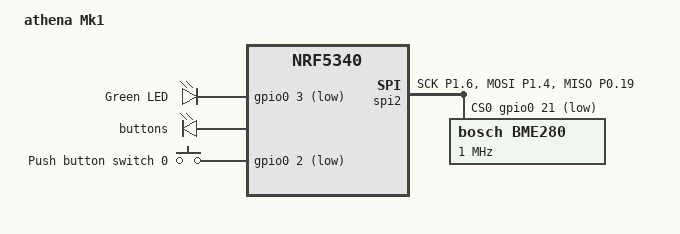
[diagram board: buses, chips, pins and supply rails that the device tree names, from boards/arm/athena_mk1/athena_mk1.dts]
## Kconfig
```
# Copyright (c) 2020, Nordic Semiconductor ASA
# SPDX-License-Identifier: Apache-2.0

config LOG
	default n

config SENSOR_LOG_LEVEL
	default 4

# Enable SPI and I2C support by default so that the sample works with
# the device connected either way. These defaults can be overridden if
# needed.
config SPI
	default y

config I2C
	default n

	

source "Kconfig.zephyr"
```

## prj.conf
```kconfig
CONFIG_SPI=y
CONFIG_SENSOR=y
#Enable the BME280 sensor with the recommended settings for Weather monitoring (see datasheet)
CONFIG_BME280=y
CONFIG_BME280_MODE_FORCED=y
CONFIG_BME280_HUMIDITY_OVER_1X=y
CONFIG_BME280_TEMP_OVER_1X=y
CONFIG_BME280_PRESS_OVER_1X=y
CONFIG_BME280_FILTER_OFF=y
#
CONFIG_ADC=y
#
CONFIG_PRINTK=n

#RTT config
CONFIG_UART_CONSOLE=n
#NOTE: set the following two to y to enable RTT console (printk messages)
CONFIG_RTT_CONSOLE=n
CONFIG_USE_SEGGER_RTT=n

#Logging config, not just printk
CONFIG_LOG=n
CONFIG_LOG_BACKEND_RTT=n

# Log settings
#CONFIG_LOG_PRINTK=y
CONFIG_LOG_MODE_DEFERRED=y
CONFIG_LOG_MODE_OVERFLOW=y


CONFIG_BT=y
CONFIG_BT_PERIPHERAL=y
CONFIG_BT_DEVICE_NAME="BME280"
#CONFIG_BT_DEVICE_APPEARANCE=512
#CONFIG_BT_DEVICE_NAME_DYNAMIC=y

CONFIG_BT_EXT_ADV=y
CONFIG_BT_EXT_ADV_MAX_ADV_SET=2
CONFIG_BT_DEVICE_NAME_DYNAMIC=y

CONFIG_BT_DIS=y
CONFIG_BT_DIS_PNP=y
CONFIG_BT_DIS_MANUF="Nordic Semiconductor ASA"
CONFIG_BT_DIS_PNP_VID_SRC=2
CONFIG_BT_DIS_PNP_VID=0x1915
CONFIG_BT_DIS_PNP_PID=0xEEF1
CONFIG_BT_DIS_PNP_VER=0x0100

#Low Power Settings
CONFIG_PM=y
CONFIG_PM_DEVICE=y
CONFIG_PM_DEVICE_RUNTIME=y
#Logging and Serial must be disabled for low power
#CONFIG_LOG=n
CONFIG_SERIAL=n
CONFIG_CONSOLE=n

# Enable MCUmgr and dependencies.
CONFIG_NET_BUF=y
CONFIG_ZCBOR=y
CONFIG_CRC=y
CONFIG_MCUMGR=y
CONFIG_STREAM_FLASH=y
CONFIG_FLASH_MAP=y

# Enable most core commands.
CONFIG_FLASH=y
CONFIG_IMG_MANAGER=y
CONFIG_MCUMGR_GRP_IMG=y
CONFIG_MCUMGR_GRP_OS=y
#CONFIG_MCUMGR_GRP_STAT=y

# Ensure an MCUboot-compatible binary is generated.
CONFIG_BOOTLOADER_MCUBOOT=y


# Allow for large Bluetooth data packets.
CONFIG_BT_L2CAP_TX_MTU=498
CONFIG_BT_BUF_ACL_RX_SIZE=502
#YS: check if this is needed
#it seems these should be set in the Network core hci_rpmsg.conf file
#CONFIG_BT_BUF_ACL_TX_SIZE=502
#CONFIG_BT_CTLR_DATA_LENGTH_MAX=251

# Enable the Bluetooth mcumgr transport (unauthenticated).
CONFIG_MCUMGR_TRANSPORT_BT=y
CONFIG_MCUMGR_TRANSPORT_BT_AUTHEN=n
CONFIG_MCUMGR_TRANSPORT_BT_CONN_PARAM_CONTROL=y

# Some command handlers require a large stack.
CONFIG_SYSTEM_WORKQUEUE_STACK_SIZE=4096


# Enable the mcumgr Packet Reassembly feature over Bluetooth and its configuration dependencies.
# MCUmgr buffer size is optimized to fit one SMP packet divided into five Bluetooth Write Commands,
# transmitted with the maximum possible MTU value: 498 bytes.
CONFIG_MCUMGR_TRANSPORT_BT_REASSEMBLY=y
CONFIG_MCUMGR_TRANSPORT_NETBUF_SIZE=2475
CONFIG_MCUMGR_GRP_OS_MCUMGR_PARAMS=y
CONFIG_MCUMGR_TRANSPORT_WORKQUEUE_STACK_SIZE=4608


#CONFIG_BOARD_ENABLE_DCDC_HV=n
#Disabling QSPI should save some power?!?
CONFIG_NORDIC_QSPI_NOR=n

CONFIG_NFCT_PINS_AS_GPIOS=y

CONFIG_BOARD_ENABLE_DCDC_NET=y
CONFIG_BOARD_ENABLE_DCDC_APP=y

CONFIG_NVS=y
CONFIG_MPU_ALLOW_FLASH_WRITE=y
CONFIG_FLASH_PAGE_LAYOUT=y
```

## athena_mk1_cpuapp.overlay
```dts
// To get started, press Ctrl+Space to bring up the completion menu and view the available nodes.

// You can also use the buttons in the sidebar to perform actions on nodes.
// Actions currently available include:

// * Enabling / disabling the node
// * Adding the bus to a bus
// * Removing the node
// * Connecting ADC channels

// For more help, browse the DeviceTree documentation at https://docs.zephyrproject.org/latest/guides/dts/index.html
// You can also visit the nRF DeviceTree extension documentation at https://nrfconnect.github.io/vscode-nrf-connect/devicetree/nrfdevicetree.html
// &i2c1 {
//     compatible = "nordic,nrf-twim";
//     status = "ok";
//    // sda-pin = <12>;
//   //  scl-pin = <11>;
    
//     bme280@77 {
//         compatible = "bosch,bme280";
//         reg = <0x76>;
//         label = "BME280";
//     };
// };
/ {

    zephyr,user {
     //  compatible = "nordic,nrf5340-dk-nrf5340-cpuapp";
       io-channels = <&adc 0>;
    };
 };
 
&spi2 {
	status = "okay";
	cs-gpios = <&gpio0 21 GPIO_ACTIVE_LOW>;
	pinctrl-0 = <&spi2_default>;
	pinctrl-1 = <&spi2_sleep>;
	pinctrl-names = "default", "sleep";
	bme280@0 {
		compatible = "bosch,bme280";
		reg = <0>;
		spi-max-frequency = <1000000>; /* conservatively set to 1MHz */
	};
};
&pinctrl {
	spi2_default: spi2_default {
			group1 {
					psels = <NRF_PSEL(SPIM_SCK, 1, 6)>,
							<NRF_PSEL(SPIM_MOSI, 1, 4)>,
							<NRF_PSEL(SPIM_MISO, 0, 19)>;
			};
	};
	spi2_sleep: spi2_sleep {
			group1 {
					psels = <NRF_PSEL(SPIM_SCK, 1, 6)>,
							<NRF_PSEL(SPIM_MOSI, 1, 4)>,
							<NRF_PSEL(SPIM_MISO, 0, 19)>;
					low-power-enable;
			};
	};
};

&gpio0 {
	status = "okay";
	sense-edge-mask = < 0xffffffff >;
};

&gpio1 {
	status = "disabled";
};

//Use the pins assigned to UART1 as we will use the ones assigned to UART0 for SPI
&uart0 {
	status = "disabled";
	current-speed = <115200>;
	pinctrl-0 = <&uart1_default>;
	pinctrl-1 = <&uart1_sleep>;
	pinctrl-names = "default", "sleep";
};

&uart1 {
	status = "disabled";
	current-speed = <115200>;
	pinctrl-0 = <&uart1_default>;
	pinctrl-1 = <&uart1_sleep>;
	pinctrl-names = "default", "sleep";
};


zephyr_udc0: &usbd {
	compatible = "nordic,nrf-usbd";
	status = "disabled";
};

&qspi {
	status = "disabled";
};

&i2c1 {
	compatible = "nordic,nrf-twim";
	status = "disabled";
};

&spi4 {
	compatible = "nordic,nrf-spim";
	status = "disabled";
};

&pwm0 {
    status = "disabled";
};

&nfct {
    status = "disabled";
};

&usbd {
    status = "disabled";
};

&usbreg {
    status = "disabled";
};

&timer0 {
	status = "disabled";
};

&timer1 {
	status = "disabled";
};

&timer2 {
	status = "disabled";
};
```

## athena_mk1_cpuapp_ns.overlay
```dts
// To get started, press Ctrl+Space to bring up the completion menu and view the available nodes.

// You can also use the buttons in the sidebar to perform actions on nodes.
// Actions currently available include:

// * Enabling / disabling the node
// * Adding the bus to a bus
// * Removing the node
// * Connecting ADC channels

// For more help, browse the DeviceTree documentation at https://docs.zephyrproject.org/latest/guides/dts/index.html
// You can also visit the nRF DeviceTree extension documentation at https://nrfconnect.github.io/vscode-nrf-connect/devicetree/nrfdevicetree.html
// &i2c1 {
//     compatible = "nordic,nrf-twim";
//     status = "ok";
//    // sda-pin = <12>;
//   //  scl-pin = <11>;
    
//     bme280@77 {
//         compatible = "bosch,bme280";
//         reg = <0x76>;
//         label = "BME280";
//     };
// };
/ {

    zephyr,user {
     //  compatible = "nordic,nrf5340-dk-nrf5340-cpuapp";
       io-channels = <&adc 0>;
    };
 };
 
&spi2 {
	status = "okay";
	cs-gpios = <&gpio0 21 GPIO_ACTIVE_LOW>;
	pinctrl-0 = <&spi2_default>;
	pinctrl-1 = <&spi2_sleep>;
	pinctrl-names = "default", "sleep";
	bme280@0 {
		compatible = "bosch,bme280";
		reg = <0>;
		spi-max-frequency = <1000000>; /* conservatively set to 1MHz */
	};
};
&pinctrl {
	spi2_default: spi2_default {
			group1 {
					psels = <NRF_PSEL(SPIM_SCK, 1, 6)>,
							<NRF_PSEL(SPIM_MOSI, 1, 4)>,
							<NRF_PSEL(SPIM_MISO, 0, 19)>;
			};
	};
	spi2_sleep: spi2_sleep {
			group1 {
					psels = <NRF_PSEL(SPIM_SCK, 1, 6)>,
							<NRF_PSEL(SPIM_MOSI, 1, 4)>,
							<NRF_PSEL(SPIM_MISO, 0, 19)>;
					low-power-enable;
			};
	};
};

&gpio0 {
	status = "okay";
};


//Use the pins assigned to UART1 as we will use the ones assigned to UART0 for SPI
&uart0 {
	status = "disabled";
	current-speed = <115200>;
	pinctrl-0 = <&uart1_default>;
	pinctrl-1 = <&uart1_sleep>;
	pinctrl-names = "default", "sleep";
};

&uart1 {
	status = "disabled";
	current-speed = <115200>;
	pinctrl-0 = <&uart1_default>;
	pinctrl-1 = <&uart1_sleep>;
	pinctrl-names = "default", "sleep";
};
```

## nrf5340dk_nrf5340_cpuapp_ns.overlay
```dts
// To get started, press Ctrl+Space to bring up the completion menu and view the available nodes.

// You can also use the buttons in the sidebar to perform actions on nodes.
// Actions currently available include:

// * Enabling / disabling the node
// * Adding the bus to a bus
// * Removing the node
// * Connecting ADC channels

// For more help, browse the DeviceTree documentation at https://docs.zephyrproject.org/latest/guides/dts/index.html
// You can also visit the nRF DeviceTree extension documentation at https://nrfconnect.github.io/vscode-nrf-connect/devicetree/nrfdevicetree.html
// &i2c1 {
//     compatible = "nordic,nrf-twim";
//     status = "ok";
//    // sda-pin = <12>;
//   //  scl-pin = <11>;
    
//     bme280@77 {
//         compatible = "bosch,bme280";
//         reg = <0x76>;
//         label = "BME280";
//     };
// };

/ {

    zephyr,user {
     //  compatible = "nordic,nrf5340-dk-nrf5340-cpuapp";
       io-channels = <&adc 0>;
    };

	/* These aliases are provided for compatibility with Athena Board. WIP */
	aliases {
		//led0 = &led0;
		//led1 = &led1;
		//led2 = &led2;
		//led3 = &led3;
		led4 = &led3;
	//	pwm-led0 = &pwm_led0;
	//	sw0 = &button0;
	//	sw1 = &button1;
	//	sw2 = &button2;
	//	sw3 = &button3;
		sw4 = &button1;
		//bootloader-led0 = &led0;
		//mcuboot-button0 = &button0;
		//mcuboot-led0 = &led0;
		//watchdog0 = &wdt0;
		//spi-flash0 = &mx25r64;
	};
	
 };

&spi2 {
	status = "okay";
	cs-gpios = <&gpio0 21 GPIO_ACTIVE_LOW>;
	pinctrl-0 = <&spi2_default>;
	pinctrl-1 = <&spi2_sleep>;
	pinctrl-names = "default", "sleep";
	bme280@0 {
		compatible = "bosch,bme280";
		reg = <0>;
		spi-max-frequency = <1000000>; /* conservatively set to 1MHz */
	};
};
&pinctrl {
	spi2_default: spi2_default {
			group1 {
					psels = <NRF_PSEL(SPIM_SCK, 1, 6)>,
							<NRF_PSEL(SPIM_MOSI, 1, 4)>,
							<NRF_PSEL(SPIM_MISO, 0, 19)>;
			};
	};
	spi2_sleep: spi2_sleep {
			group1 {
					psels = <NRF_PSEL(SPIM_SCK, 1, 6)>,
							<NRF_PSEL(SPIM_MOSI, 1, 4)>,
							<NRF_PSEL(SPIM_MISO, 0, 19)>;
					low-power-enable;
			};
	};
};

&gpio0 {
	status = "okay";
};


//Use the pins assigned to UART1 as we will use the ones assigned to UART0 for SPI
&uart0 {
	status = "disabled";
	current-speed = <115200>;
	pinctrl-0 = <&uart1_default>;
	pinctrl-1 = <&uart1_sleep>;
	pinctrl-names = "default", "sleep";
};

&uart1 {
	status = "disabled";
	current-speed = <115200>;
	pinctrl-0 = <&uart1_default>;
	pinctrl-1 = <&uart1_sleep>;
	pinctrl-names = "default", "sleep";
};
```

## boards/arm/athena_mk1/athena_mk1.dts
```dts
// Copyright (c) 2023 Nordic Semiconductor ASA
// SPDX-License-Identifier: Apache-2.0

/dts-v1/;
#include <nordic/nrf5340_cpuappns_qkaa.dtsi>

/ {
	model = "athena Mk1";
	compatible = "nordic-semi,athena-mk1";

	chosen {
		zephyr,sram = &sram0;
		zephyr,flash = &flash0;
		zephyr,code-partition = &slot0_ns_partition;
	};

	leds {
		compatible = "gpio-leds";
		green_led: led_0 {
			gpios = <&gpio0 3 GPIO_ACTIVE_LOW>;
			label = "Green LED";
		};

		buttons {
			compatible = "gpio-keys";
			button_0: button_0 {
				gpios = <&gpio0 2 (GPIO_PULL_UP | GPIO_ACTIVE_LOW)>;
				label = "Push button switch 0";
			};
		};



	};
};

&spi2 {
	status = "okay";
	cs-gpios = <&gpio0 21 GPIO_ACTIVE_LOW>;
	pinctrl-0 = <&spi2_default>;
	pinctrl-1 = <&spi2_sleep>;
	pinctrl-names = "default", "sleep";
	bme280@0 {
		compatible = "bosch,bme280";
		reg = <0>;
		spi-max-frequency = <1000000>; /* conservatively set to 1MHz */
	};
};
&pinctrl {
	spi2_default: spi2_default {
			group1 {
					psels = <NRF_PSEL(SPIM_SCK, 1, 6)>,
							<NRF_PSEL(SPIM_MOSI, 1, 4)>,
							<NRF_PSEL(SPIM_MISO, 0, 19)>;
			};
	};
	spi2_sleep: spi2_sleep {
			group1 {
					psels = <NRF_PSEL(SPIM_SCK, 1, 6)>,
							<NRF_PSEL(SPIM_MOSI, 1, 4)>,
							<NRF_PSEL(SPIM_MISO, 0, 19)>;
					low-power-enable;
			};
	};
};

&gpio0 {
	status = "okay";
};


&flash0 {
	partitions {
		compatible = "fixed-partitions";
		#address-cells = <1>;
		#size-cells = <1>;

		boot_partition: partition@0 {
			label = "mcuboot";
			reg = <0x0 0x10000>;
		};
		slot0_partition: partition@10000 {
			label = "image-0";
			reg = <0x10000 0x40000>;
		};
		slot0_ns_partition: partition@50000 {
			label = "image-0-nonsecure";
			reg = <0x50000 0x30000>;
		};
		slot1_partition: partition@80000 {
			label = "image-1";
			reg = <0x80000 0x40000>;
		};
		slot1_ns_partition: partition@c0000 {
			label = "image-1-nonsecure";
			reg = <0xc0000 0x30000>;
		};
		scratch_partition: partition@f0000 {
			label = "image-scratch";
			reg = <0xf0000 0xa000>;
		};
		storage_partition: partition@fa000 {
			label = "storage";
			reg = <0xfa000 0x6000>;
		};
	};
};
```

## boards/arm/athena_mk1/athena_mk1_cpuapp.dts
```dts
/*
 * Copyright (c) 2020 Nordic Semiconductor ASA
 *
 * SPDX-License-Identifier: Apache-2.0
 */

/dts-v1/;
#include <nordic/nrf5340_cpuapp_qkaa.dtsi>
#include "athena_mk1_cpuapp_common.dts"

/ {
	model = "athena Mk1";
	compatible = "nordic-semi,athena-mk1";

	chosen {
		zephyr,sram = &sram0_image;
		zephyr,flash = &flash0;
		zephyr,code-partition = &slot0_partition;
		zephyr,sram-secure-partition = &sram0_s;
		zephyr,sram-non-secure-partition = &sram0_ns;
	};
};
```

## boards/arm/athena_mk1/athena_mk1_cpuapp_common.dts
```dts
/*
 * Copyright (c) 2019-2020 Nordic Semiconductor ASA
 *
 * SPDX-License-Identifier: Apache-2.0
 */
#include "athena_mk1_cpuapp_common-pinctrl.dtsi"

/ {

	chosen {
		zephyr,console = &uart0;
		zephyr,shell-uart = &uart0;
		zephyr,uart-mcumgr = &uart0;
		zephyr,bt-mon-uart = &uart0;
		zephyr,bt-c2h-uart = &uart0;
		zephyr,bt-hci-rpmsg-ipc = &ipc0;
		nordic,802154-spinel-ipc = &ipc0;
		zephyr,ieee802154 = &ieee802154;
	};

	leds {
		compatible = "gpio-leds";
		/* 
		led0: led_0 {
			gpios = <&gpio0 28 GPIO_ACTIVE_LOW>;
			label = "Green LED 0";
		};
		led1: led_1 {
			gpios = <&gpio0 29 GPIO_ACTIVE_LOW>;
			label = "Green LED 1";
		};
		led2: led_2 {
			gpios = <&gpio0 30 GPIO_ACTIVE_LOW>;
			label = "Green LED 2";
		};
		led3: led_3 {
			gpios = <&gpio0 31 GPIO_ACTIVE_LOW>;
			label = "Green LED 3";
		};
		*/
		led4: led_4 {
			gpios = <&gpio0 3 GPIO_ACTIVE_LOW>;
			label = "Athena LED";
		};
	};

	// pwmleds {
	// 	compatible = "pwm-leds";
	// 	pwm_led0: pwm_led_0 {
	// 		pwms = <&pwm0 0 PWM_MSEC(20) PWM_POLARITY_INVERTED>;
	// 	};
	// };

	buttons {
		compatible = "gpio-keys";
		/* 
		button0: button_0 {
			gpios = <&gpio0 23 (GPIO_PULL_UP | GPIO_ACTIVE_LOW)>;
			label = "Push button 1";
		};
		button1: button_1 {
			gpios = <&gpio0 24 (GPIO_PULL_UP | GPIO_ACTIVE_LOW)>;
			label = "Push button 2";
		};
		button2: button_2 {
			gpios = <&gpio0 8 (GPIO_PULL_UP | GPIO_ACTIVE_LOW)>;
			label = "Push button 3";
		};
		button3: button_3 {
			gpios = <&gpio0 9 (GPIO_PULL_UP | GPIO_ACTIVE_LOW)>;
			label = "Push button 4";
		};
		*/
		button4: button_4 {
			gpios = <&gpio0 2 (GPIO_PULL_UP | GPIO_ACTIVE_LOW)>;
			label = "Athena Button";
		};
		// button5: button_5 {
		// 	gpios = <&gpio0 18 (GPIO_ACTIVE_LOW)>;
		// 	label = "Athena Button Dummy";
		// };
	};

	arduino_header: connector {
		compatible = "arduino-header-r3";
		#gpio-cells = <2>;
		gpio-map-mask = <0xffffffff 0xffffffc0>;
		gpio-map-pass-thru = <0 0x3f>;
		gpio-map = <0 0 &gpio0 4 0>,	/* A0 */
			   <1 0 &gpio0 5 0>,	/* A1 */
			   <2 0 &gpio0 6 0>,	/* A2 */
			   <3 0 &gpio0 7 0>,	/* A3 */
			   <4 0 &gpio0 25 0>,	/* A4 */
			   <5 0 &gpio0 26 0>,	/* A5 */
			   <6 0 &gpio1 0 0>,	/* D0 */
			   <7 0 &gpio1 1 0>,	/* D1 */
			   <8 0 &gpio1 4 0>,	/* D2 */
			   <9 0 &gpio1 5 0>,	/* D3 */
			   <10 0 &gpio1 6 0>,	/* D4 */
			   <11 0 &gpio1 7 0>,	/* D5 */
			   <12 0 &gpio1 8 0>,	/* D6 */
			   <13 0 &gpio1 9 0>,	/* D7 */
			   <14 0 &gpio1 10 0>,	/* D8 */
			   <15 0 &gpio1 11 0>,	/* D9 */
			   <16 0 &gpio1 12 0>,	/* D10 */
			   <17 0 &gpio1 13 0>,	/* D11 */
			   <18 0 &gpio1 14 0>,	/* D12 */
			   <19 0 &gpio1 15 0>,	/* D13 */
			   <20 0 &gpio1 2 0>,	/* D14 */
			   <21 0 &gpio1 3 0>;	/* D15 */
	};

	arduino_adc: analog-connector {
		compatible = "arduino,uno-adc";
		#io-channel-cells = <1>;
		io-channel-map = <0 &adc 0>,	/* A0 = P0.4 = AIN0 */
				 <1 &adc 1>,	/* A1 = P0.5 = AIN1 */
				 <2 &adc 2>,	/* A2 = P0.6 = AIN2 */
				 <3 &adc 3>,	/* A3 = P0.7 = AIN3 */
				 <4 &adc 4>,	/* A4 = P0.25 = AIN4 */
				 <5 &adc 5>;	/* A5 = P0.26 = AIN5 */
	};

	gpio_fwd: nrf-gpio-forwarder {
		compatible = "nordic,nrf-gpio-forwarder";
		status = "okay";
		uart {
			gpios = <&gpio1 1 0>, <&gpio1 0 0>, <&gpio0 11 0>, <&gpio0 10 0>;
		};
	};

	/* These aliases are provided for compatibility with samples */
	aliases {
		//led0 = &led0;
		//led1 = &led1;
		//led2 = &led2;
		//led3 = &led3;
		led4 = &led4;
	//	pwm-led0 = &pwm_led0;
	//	sw0 = &button0;
	//	sw1 = &button1;
	//	sw2 = &button2;
	//	sw3 = &button3;
		sw4 = &button4;
		//bootloader-led0 = &led0;
		//mcuboot-button0 = &button0;
		//mcuboot-led0 = &led0;
		watchdog0 = &wdt0;
		//spi-flash0 = &mx25r64;
	};
};

&adc {
	status = "okay";
};

&gpiote {
	status = "disabled";
};

&gpio0 {
	status = "okay";
};

&gpio1 {
	status = "okay";
};

&i2c1 {
	compatible = "nordic,nrf-twim";
	status = "okay";
	pinctrl-0 = <&i2c1_default>;
	pinctrl-1 = <&i2c1_sleep>;
	pinctrl-names = "default", "sleep";
};

&uart0 {
	status = "okay";
	current-speed = <115200>;
	pinctrl-0 = <&uart0_default>;
	pinctrl-1 = <&uart0_sleep>;
	pinctrl-names = "default", "sleep";
};

&pwm0 {
	status = "okay";
	pinctrl-0 = <&pwm0_default>;
	pinctrl-1 = <&pwm0_sleep>;
	pinctrl-names = "default", "sleep";
};

// &qspi {
// 	status = "okay";
// 	pinctrl-0 = <&qspi_default>;
// 	pinctrl-1 = <&qspi_sleep>;
// 	pinctrl-names = "default", "sleep";
// 	mx25r64: mx25r6435f@0 {
// 		compatible = "nordic,qspi-nor";
// 		reg = <0>;
// 		/* MX25R64 supports only pp and pp4io */
// 		writeoc = "pp4io";
// 		/* MX25R64 supports all readoc options */
// 		readoc = "read4io";
// 		sck-frequency = <8000000>;
// 		jedec-id = [c2 28 17];
// 		sfdp-bfp = [
// 			e5 20 f1 ff  ff ff ff 03  44 eb 08 6b  08 3b 04 bb
// 			ee ff ff ff  ff ff 00 ff  ff ff 00 ff  0c 20 0f 52
// 			10 d8 00 ff  23 72 f5 00  82 ed 04 cc  44 83 68 44
// 			30 b0 30 b0  f7 c4 d5 5c  00 be 29 ff  f0 d0 ff ff
// 		];
// 		size = <67108864>;
// 		has-dpd;
// 		t-enter-dpd = <10000>;
// 		t-exit-dpd = <35000>;
// 	};
// };

&timer0 {
	status = "okay";
};

&timer1 {
	status = "okay";
};

&timer2 {
	status = "okay";
};

arduino_serial: &uart1 {
	compatible = "nordic,nrf-uarte";
	current-speed = <115200>;
	pinctrl-0 = <&uart1_default>;
	pinctrl-1 = <&uart1_sleep>;
	pinctrl-names = "default", "sleep";
};

arduino_i2c: &i2c1 {};

arduino_spi: &spi4 {
	compatible = "nordic,nrf-spim";
	status = "okay";
	cs-gpios = <&arduino_header 16 GPIO_ACTIVE_LOW>; /* D10 */
	pinctrl-0 = <&spi4_default>;
	pinctrl-1 = <&spi4_sleep>;
	pinctrl-names = "default", "sleep";
};

&flash0 {

	partitions {
		compatible = "fixed-partitions";
		#address-cells = <1>;
		#size-cells = <1>;

		boot_partition: partition@0 {
			label = "mcuboot";
			reg = <0x00000000 0x00010000>;
		};
		slot0_partition: partition@10000 {
			label = "image-0";
		};
		slot0_ns_partition: partition@50000 {
			label = "image-0-nonsecure";
		};
		slot1_partition: partition@80000 {
			label = "image-1";
		};
		slot1_ns_partition: partition@c0000 {
			label = "image-1-nonsecure";
		};
		scratch_partition: partition@f0000 {
			label = "image-scratch";
			reg = <0x000f0000 0xa000>;
		};
		storage_partition: partition@fa000 {
			label = "storage";
			reg = <0x000fa000 0x00006000>;
		};
	};
};

&ieee802154 {
	status = "okay";
};

zephyr_udc0: &usbd {
	compatible = "nordic,nrf-usbd";
	status = "okay";
};

/ {

	reserved-memory {
		#address-cells = <1>;
		#size-cells = <1>;
		ranges;

		sram0_image: image@20000000 {
			/* Zephyr image(s) memory */
		};

		sram0_s: image_s@20000000 {
			/* Secure image memory */
		};

		sram0_ns: image_ns@20040000 {
			/* Non-Secure image memory */
		};
	};
};

/* Include partition configuration file */
#include "athena_mk1_cpuapp_partition_conf.dts"
```

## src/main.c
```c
// Creator: Yasen Stoyanov
// BLE data is sent LSB first
// App Brief: BLE beacon implementation for the Athena project
//
// The APP has two advertising sets: non-connectable and connectable
// The non-connectable advertising set is used to advertise the sensor data
// The connectable advertising set is used to advertise the device name and the ACS service
// The ACS (Athena Configuration Service) is used for configuring the beacon ID (and other parameters in the future) 
// The non-connectable advertising set is started by default
// The connectable advertising set is started when the button is pressed for more than 5s
//


#include <zephyr/kernel.h>
#include <zephyr/device.h>
#include <zephyr/devicetree.h>
#include <zephyr/drivers/sensor.h>

#include <zephyr/bluetooth/bluetooth.h>
#include <zephyr/bluetooth/hci.h>
#include <zephyr/bluetooth/conn.h>
#include <zephyr/bluetooth/uuid.h>
#include <zephyr/bluetooth/gatt.h>

#include <zephyr/mgmt/mcumgr/transport/smp_bt.h>

#include <zephyr/settings/settings.h>

#include <zephyr/pm/pm.h> 
#include <zephyr/pm/device.h> 

#include <zephyr/drivers/gpio.h>

#include "battery.h"
#include "buttons.h"
#include "led.h"
#include "ble_beacon.h"

#define BAT_TH_STACKSIZE 500
#define BAT_TH_PRIORITY 5
#define BAT_LVL_THRESHOLD_MV 2000

#define LED_TH_STACKSIZE 500
#define LED_TH_PRIORITY 5


#define BTN_HOLD_TIME_MS 5000

/*Get nodes from the devicetree */
#define SENSOR_SPI DT_NODELABEL(spi2)

#define APP_VER 0x05
//App Status register bits
#define BME280_INIT_ERR 0x01
#define BATT_LOW     	0x02
#define BATT_INIT_ERR 	0x04
//Flag manipulation macros
#define SET_FLAG(reg, flag) (reg |= (flag))
#define CLEAR_FLAG(reg, flag) (reg &= ~(flag))
#define CHECK_FLAG(reg, flag) (reg & (flag))

#define LED_TEST_EN 0
#if (LED_TEST_EN == 1)
/* 1000 msec = 1 sec */
#define LED_TOGGLE_INTERVAL_MS   1000
#endif

//Create a semaphore
struct k_sem button_hold_sem;

static uint8_t app_stat_reg;
static uint8_t adv_data[] = {0xaa,
							 0xfe,																											 /* Eddystone UUID */
							 0x00,																													 /* Eddystone-UID frame type */
							 0x00,																													 /* Calibrated Tx power at 0m */
							 BT_UUID_16_ENCODE(0x1122), 
							 BT_UUID_16_ENCODE(0x3344), 
							 BT_UUID_16_ENCODE(0x5566),
							 BT_UUID_16_ENCODE(0x7788),
							 0x08, 0x09, /* 10-byte Namespace */
							 0x0a, 0x0b, 0x0c, 0x0d, 0x0e, 0x0f};


/*
 * A build error on this line means your board is unsupported.
 * See the sample documentation for information on how to fix this.
 */

const struct device *spi_dev=DEVICE_DT_GET(SENSOR_SPI);

//extern const struct bt_data sd[2];

/*
 * Get a device structure from a devicetree node with compatible
 * "bosch,bme280". (If there are multiple, just pick one.)
 */
static const struct device *get_bme280_device(void)
{
	const struct device *dev = DEVICE_DT_GET_ANY(bosch_bme280);

	if (dev == NULL)
	{
		/* No such node, or the node does not have status "okay". */
		printk("\nError: no device found.\n");
		return NULL;
	}

	if (!device_is_ready(dev))
	{
		printk("\nError: Device \"%s\" is not ready; "
			   "check the driver initialization logs for errors.\n",
			   dev->name);
		return NULL;
	}

	printk("Found device \"%s\", getting sensor data\n", dev->name);
	return dev;
}


static void button_event_handler(enum button_evt evt)
{
	static int64_t btn_pressed_timestamp;
	static uint8_t toggle_flag;
	if (evt == BUTTON_EVT_PRESSED) 
	{
		btn_pressed_timestamp = k_uptime_get();
	}
	else if (evt == BUTTON_EVT_RELEASED) {
		int64_t btn_hold_time; 
		btn_hold_time = k_uptime_delta(&btn_pressed_timestamp); 
		if (btn_hold_time > BTN_HOLD_TIME_MS) {
			k_sem_give(&button_hold_sem);
			//TODO: And also check the return value!!! :)	
			if (!toggle_flag) {
				ble_beacon_connectable_adv_start();
			}
			else {
				//Note: Advertising can be stopped only if it is active. If a connection is established, the advertising is stopped automatically,
				// so calling this function will not have an effect. Firts the connection must be closed, and then the advertising can be stopped.
				ble_beacon_connectable_adv_stop();
			}
			toggle_flag ^= 1;		
		}
		
	}
}


/*Note: The app main() function is called by the Zephyr main thread, after the kernel has benn initialized.*/
void main(void)
{

	int bat_lvl;
	int stat;
	extern struct k_msgq batt_lvl_msgq; 
    int ret;

	k_sem_init(&button_hold_sem, 0, 1);

	//TODO: move the led related stuff to separate file
	ret = led_init();
	if (ret < 0) {
	//		return 0; //FIXME: main does not have return 
	}

	ret = buttons_init(button_event_handler);
	if (ret < 0) {
	//		return 0; //FIXME: main does not have return 
	}

 #if (LED_TEST_EN == 1)	
 //FIXME: no longer working the led is moved to led.c
	while (1) {
		ret = gpio_pin_toggle_dt(&led);
		if (ret < 0) {
			return 0;
		}
		k_msleep(LED_TOGGLE_INTERVAL_MS);
	}
 #endif
  #define DO_NOTHING 0
  #if (DO_NOTHING == 0)
	//BME280 sensor
	int err;
	#if (CONFIG_BME280 == 1)
	const struct device *dev = get_bme280_device();
	if (dev == NULL)
	{
		SET_FLAG(app_stat_reg, BME280_INIT_ERR);
	}
	#endif


	//Retrieve from flash the beacon ID and set it
	usf_init();
	usf_load();

	ble_beacon_init();

	//Initialize the battery measurement
	//TODO: maybe this should be in the battery_level_thread
	int rc = battery_measure_enable(true);
	if (rc != 0) {
		printk("Failed initialize battery measurement: %d\n", rc);
		SET_FLAG(app_stat_reg, BATT_INIT_ERR);
	}

	//Set the pointer to the advertising data that will be updated 
	//ad_bme280[2].data = adv_data;
	ble_beacon_set_adv_frame_data(adv_data);

	while (1)
	{
		struct sensor_value temp, press, humidity;

		pm_device_action_run( spi_dev, PM_DEVICE_ACTION_RESUME);

#if (CONFIG_BME280 == 1)
		sensor_sample_fetch(dev);
		/*
		*	Representation of a sensor readout value per Zepgyr's sensor API.
		*	 0.5: val1 =  0, val2 =  500000
		*	-0.5: val1 =  0, val2 = -500000
		*	-1.0: val1 = -1, val2 =  0
		*	-1.5: val1 = -1, val2 = -500000
		*/
		sensor_channel_get(dev, SENSOR_CHAN_AMBIENT_TEMP, &temp);
		sensor_channel_get(dev, SENSOR_CHAN_PRESS, &press);
		sensor_channel_get(dev, SENSOR_CHAN_HUMIDITY, &humidity);

				//Print the temperature, pressure and humidity values on the console for debugging purposes
		printk("temp: %d.%06d; press: %d.%06d; humidity: %d.%06d\n",
			   temp.val1, temp.val2, press.val1, press.val2,
			   humidity.val1, humidity.val2);
#endif

		/*Check if we have new battery level data*/
        stat = k_msgq_get(&batt_lvl_msgq, &bat_lvl, K_NO_WAIT);
		if (stat == 0) {
			if (bat_lvl < BAT_LVL_THRESHOLD_MV) {
				SET_FLAG(app_stat_reg, BATT_LOW);
			}
			else {
				CLEAR_FLAG(app_stat_reg, BATT_LOW);
			}
			printk("Battery level: %d\n", bat_lvl);			
		}

		/*Update the advertising data*/
		/*
		 * Temperature handling
		 * The integer part of the temperature is stored in temp.val1, and the decimal part is stored in temp.val2
		 * Signle byte is enough to store the integer part of the temperature (-40 to 80), so we are discarding 3 MSB bytes from val1
		 * We normalize the decimal part of the temperature (temp.val2) by dividing it by 10000, so that it can be stored in a single byte
		 * 
		 * Humidity handling
		 * We take just the the LSB byte, as the humidity can take take values only from 0 to 100
		 * We are discarding the humidity value after the decimal point, so humidity.val2 is not used
		 */
		adv_data[5] = ((temp.val1 >> 0) & 0xff);
		adv_data[6] = ((temp.val2 / 10000) & 0xff);
		adv_data[7] = ((humidity.val1 >> 0) & 0xff);
		adv_data[8] = app_stat_reg; 
		adv_data[9] = APP_VER; //TODO: set this once in the beginning, no need to updated as it does not change
		adv_data[10] = ble_beacon_get_athena_id();

		err = ble_beacon_update_adv_data();
		if (err)
		{
			printk("Adv. data update failed (err %d)\n", err);
			//return; //FIXME: How do we indicate that app update has failed?!?, maybe LED blink pattern?!?
		}
		/*
		* Note:
		* We Take a measurement from the sensor every minute. The BLE stack will be active and adveritising every 1s (with the latest data), because as a beacon the perihperal device 
		* should be able to see the advertising packets. If we advertise only once a minute, the central device will not be able to see the advertising packets. 
		* So as a balanced approach we advertise every 1s, but take a measurement every minute. 
		* Put the SPI device in low power mode here, and wake-it up before calling sensor_sample_fetch(dev);
		*/
		pm_device_action_run( spi_dev, PM_DEVICE_ACTION_SUSPEND);	
		k_sleep(K_SECONDS(60));	
	}
#endif
}

//Static thread for measuring the battery level
K_THREAD_DEFINE(batt_level_id, BAT_TH_STACKSIZE, battery_level_thread, NULL, NULL, NULL,
		BAT_TH_PRIORITY, 0, 0);

//Static thread for measuring the battery level
K_THREAD_DEFINE(led_toggle_id, LED_TH_STACKSIZE, led_toggle_thread, NULL, NULL, NULL,
		LED_TH_PRIORITY, 0, 0);		
```

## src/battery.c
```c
/*
 * Copyright (c) 2018-2019 Peter Bigot Consulting, LLC
 * Copyright (c) 2019-2020 Nordic Semiconductor ASA
 *
 * SPDX-License-Identifier: Apache-2.0
 */

#include <math.h>
#include <stdio.h>
#include <stdlib.h>

#include <zephyr/kernel.h>
#include <zephyr/init.h>
#include <zephyr/drivers/gpio.h>
#include <zephyr/drivers/adc.h>
#include <zephyr/drivers/sensor.h>
#include <zephyr/logging/log.h>

#include "battery.h"

LOG_MODULE_REGISTER(BATTERY, CONFIG_ADC_LOG_LEVEL);

#define VBATT DT_PATH(vbatt)
#define ZEPHYR_USER DT_PATH(zephyr_user)

#ifdef CONFIG_BOARD_THINGY52_NRF52832
/* This board uses a divider that reduces max voltage to
 * reference voltage (600 mV).
 */
#define BATTERY_ADC_GAIN ADC_GAIN_1
#else
/* Other boards may use dividers that only reduce battery voltage to
 * the maximum supported by the hardware (3.6 V)
 */
#define BATTERY_ADC_GAIN ADC_GAIN_1_6
#endif




/** A discharge curve specific to the power source. */
static const struct battery_level_point levels[] = {
	/* "Curve" here eyeballed from captured data for the [Adafruit
	 * 3.7v 2000 mAh](https://www.adafruit.com/product/2011) LIPO
	 * under full load that started with a charge of 3.96 V and
	 * dropped about linearly to 3.58 V over 15 hours.  It then
	 * dropped rapidly to 3.10 V over one hour, at which point it
	 * stopped transmitting.
	 *
	 * Based on eyeball comparisons we'll say that 15/16 of life
	 * goes between 3.95 and 3.55 V, and 1/16 goes between 3.55 V
	 * and 3.1 V.
	 */

	{ 10000, 3950 },
	{ 625, 3550 },
	{ 0, 3100 },
};

static const char *now_str(void)
{
	static char buf[16]; /* ...HH:MM:SS.MMM */
	uint32_t now = k_uptime_get_32();
	unsigned int ms = now % MSEC_PER_SEC;
	unsigned int s;
	unsigned int min;
	unsigned int h;

	now /= MSEC_PER_SEC;
	s = now % 60U;
	now /= 60U;
	min = now % 60U;
	now /= 60U;
	h = now;

	snprintf(buf, sizeof(buf), "%u:%02u:%02u.%03u",
		 h, min, s, ms);
	return buf;
}


struct io_channel_config {
	uint8_t channel;
};

struct divider_config {
	struct io_channel_config io_channel;
	struct gpio_dt_spec power_gpios;
	/* output_ohm is used as a flag value: if it is nonzero then
	 * the battery is measured through a voltage divider;
	 * otherwise it is assumed to be directly connected to Vdd.
	 */
	uint32_t output_ohm;
	uint32_t full_ohm;
};

static const struct divider_config divider_config = {
#if DT_NODE_HAS_STATUS(VBATT, okay)
	.io_channel = {
		DT_IO_CHANNELS_INPUT(VBATT),
	},
	.power_gpios = GPIO_DT_SPEC_GET_OR(VBATT, power_gpios, {}),
	.output_ohm = DT_PROP(VBATT, output_ohms),
	.full_ohm = DT_PROP(VBATT, full_ohms),
#else /* /vbatt exists */
	.io_channel = {
		DT_IO_CHANNELS_INPUT(ZEPHYR_USER),
	},
#endif /* /vbatt exists */
};

struct divider_data {
	const struct device *adc;
	struct adc_channel_cfg adc_cfg;
	struct adc_sequence adc_seq;
	int16_t raw;
};
static struct divider_data divider_data = {
#if DT_NODE_HAS_STATUS(VBATT, okay)
	.adc = DEVICE_DT_GET(DT_IO_CHANNELS_CTLR(VBATT)),
#else
	.adc = DEVICE_DT_GET(DT_IO_CHANNELS_CTLR(ZEPHYR_USER)),
#endif
};

static int divider_setup(void)
{
	const struct divider_config *cfg = &divider_config;
	const struct io_channel_config *iocp = &cfg->io_channel;
	const struct gpio_dt_spec *gcp = &cfg->power_gpios;
	struct divider_data *ddp = &divider_data;
	struct adc_sequence *asp = &ddp->adc_seq;
	struct adc_channel_cfg *accp = &ddp->adc_cfg;
	int rc;

	if (!device_is_ready(ddp->adc)) {
		LOG_ERR("ADC device is not ready %s", ddp->adc->name);
		return -ENOENT;
	}

	if (gcp->port) {
		if (!device_is_ready(gcp->port)) {
			LOG_ERR("%s: device not ready", gcp->port->name);
			return -ENOENT;
		}
		rc = gpio_pin_configure_dt(gcp, GPIO_OUTPUT_INACTIVE);
		if (rc != 0) {
			LOG_ERR("Failed to control feed %s.%u: %d",
				gcp->port->name, gcp->pin, rc);
			return rc;
		}
	}

	*asp = (struct adc_sequence){
		.channels = BIT(0),
		.buffer = &ddp->raw,
		.buffer_size = sizeof(ddp->raw),
		.oversampling = 4,
		.calibrate = true,
	};

#ifdef CONFIG_ADC_NRFX_SAADC
	*accp = (struct adc_channel_cfg){
		.gain = BATTERY_ADC_GAIN,
		.reference = ADC_REF_INTERNAL,
		.acquisition_time = ADC_ACQ_TIME(ADC_ACQ_TIME_MICROSECONDS, 40),
	};

	if (cfg->output_ohm != 0) {
		accp->input_positive = SAADC_CH_PSELP_PSELP_AnalogInput0
			+ iocp->channel;
	} else {
		accp->input_positive = SAADC_CH_PSELP_PSELP_VDD;
	}

	asp->resolution = 14;
#else /* CONFIG_ADC_var */
#error Unsupported ADC
#endif /* CONFIG_ADC_var */

	rc = adc_channel_setup(ddp->adc, accp);
	LOG_INF("Setup AIN%u got %d", iocp->channel, rc);

	return rc;
}

static bool battery_ok;

static int battery_setup(const struct device *arg)
{
	int rc = divider_setup();

	battery_ok = (rc == 0);
	LOG_INF("Battery setup: %d %d", rc, battery_ok);
	return rc;
}

SYS_INIT(battery_setup, APPLICATION, CONFIG_APPLICATION_INIT_PRIORITY);

int battery_measure_enable(bool enable)
{
	int rc = -ENOENT;

	if (battery_ok) {
		const struct gpio_dt_spec *gcp = &divider_config.power_gpios;

		rc = 0;
		if (gcp->port) {
			rc = gpio_pin_set_dt(gcp, enable);
		}
	}
	return rc;
}

int battery_sample(void)
{
	int rc = -ENOENT;

	if (battery_ok) {
		struct divider_data *ddp = &divider_data;
		const struct divider_config *dcp = &divider_config;
		struct adc_sequence *sp = &ddp->adc_seq;

		rc = adc_read(ddp->adc, sp);
		sp->calibrate = false;
		if (rc == 0) {
			int32_t val = ddp->raw;

			adc_raw_to_millivolts(adc_ref_internal(ddp->adc),
					      ddp->adc_cfg.gain,
					      sp->resolution,
					      &val);

			if (dcp->output_ohm != 0) {
				rc = val * (uint64_t)dcp->full_ohm
					/ dcp->output_ohm;
				LOG_INF("raw %u ~ %u mV => %d mV\n",
					ddp->raw, val, rc);
			} else {
				rc = val;
				LOG_INF("raw %u ~ %u mV\n", ddp->raw, val);
			}
		}
	}

	return rc;
}

unsigned int battery_level_pptt(unsigned int batt_mV,
				const struct battery_level_point *curve)
{
	const struct battery_level_point *pb = curve;

	if (batt_mV >= pb->lvl_mV) {
		/* Measured voltage above highest point, cap at maximum. */
		return pb->lvl_pptt;
	}
	/* Go down to the last point at or below the measured voltage. */
	while ((pb->lvl_pptt > 0)
	       && (batt_mV < pb->lvl_mV)) {
		++pb;
	}
	if (batt_mV < pb->lvl_mV) {
		/* Below lowest point, cap at minimum */
		return pb->lvl_pptt;
	}

	/* Linear interpolation between below and above points. */
	const struct battery_level_point *pa = pb - 1;

	return pb->lvl_pptt
	       + ((pa->lvl_pptt - pb->lvl_pptt)
		  * (batt_mV - pb->lvl_mV)
		  / (pa->lvl_mV - pb->lvl_mV));
}


//create a message queue to send battery level to main thread
#define MSG_QUEUE_SIZE 10
K_MSGQ_DEFINE(batt_lvl_msgq, sizeof(int), MSG_QUEUE_SIZE, 4);

void battery_level_thread(int unused1, int unused2, int unused3)
{

	//TODO: should battery measurement initialization this be here or in the main thread?
	int rc = battery_measure_enable(true);

	if (rc != 0) {
		printk("Failed initialize battery measurement: %d\n", rc);
		return;
	}
    while (1) {
		
		int batt_mV = battery_sample();

		if (batt_mV < 0) {
			printk("Failed to read battery voltage: %d\n",
			       batt_mV);
			break; //FIXME: do not break, keep the task running?
		}

		/* send data to consumers */
		
        while (k_msgq_put(&batt_lvl_msgq, &batt_mV, K_NO_WAIT) != 0) {
            /* message queue is full: purge old data & try again */
            k_msgq_purge(&batt_lvl_msgq);
        }

		//Note:N Estimated battery life is not realiable, 
		//sent mV to main thread and to BLE advertisement
		unsigned int batt_pptt = battery_level_pptt(batt_mV, levels);

		// printk("[%s]: %d mV; %u pptt\n", now_str(),
		//        batt_mV, batt_pptt);
		 printk("[%s]: %d mV;\n", now_str(),
		        batt_mV);

		k_sleep(K_SECONDS(120)); //FIXME: increase sleep to 5 minutes or more, no need to sample so often?
    }

    /* thread terminates at end of entry point function */
}
```

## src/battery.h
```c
/*
 * Copyright (c) 2018-2019 Peter Bigot Consulting, LLC
 *
 * SPDX-License-Identifier: Apache-2.0
 */

#ifndef APPLICATION_BATTERY_H_
#define APPLICATION_BATTERY_H_

/** Enable or disable measurement of the battery voltage.
 *
 * @param enable true to enable, false to disable
 *
 * @return zero on success, or a negative error code.
 */
int battery_measure_enable(bool enable);

/** Measure the battery voltage.
 *
 * @return the battery voltage in millivolts, or a negative error
 * code.
 */
int battery_sample(void);

/** A point in a battery discharge curve sequence.
 *
 * A discharge curve is defined as a sequence of these points, where
 * the first point has #lvl_pptt set to 10000 and the last point has
 * #lvl_pptt set to zero.  Both #lvl_pptt and #lvl_mV should be
 * monotonic decreasing within the sequence.
 */
struct battery_level_point {
	/** Remaining life at #lvl_mV. */
	uint16_t lvl_pptt;

	/** Battery voltage at #lvl_pptt remaining life. */
	uint16_t lvl_mV;
};

/** Calculate the estimated battery level based on a measured voltage.
 *
 * @param batt_mV a measured battery voltage level.
 *
 * @param curve the discharge curve for the type of battery installed
 * on the system.
 *
 * @return the estimated remaining capacity in parts per ten
 * thousand.
 */
unsigned int battery_level_pptt(unsigned int batt_mV,
				const struct battery_level_point *curve);



void battery_level_thread(int unused1, int unused2, int unused3);				

#endif /* APPLICATION_BATTERY_H_ */
```

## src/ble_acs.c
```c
// Creator: Yasen Stoyanov
// Athena Configuration Service (ACS) implementation

#include <zephyr/kernel.h>
#include <zephyr/device.h>
#include <zephyr/devicetree.h>
#include <zephyr/drivers/sensor.h>

#include <zephyr/bluetooth/bluetooth.h>
#include <zephyr/bluetooth/hci.h>
#include <zephyr/bluetooth/conn.h>
#include <zephyr/bluetooth/uuid.h>
#include <zephyr/bluetooth/gatt.h>

#include "ble_acs.h"

static struct ble_acs_cb acs_cb;
static uint8_t beacon_id;

static ssize_t write_id(struct bt_conn *conn,
			 const struct bt_gatt_attr *attr,
			 const void *buf,
			 uint16_t len, uint16_t offset, uint8_t flags)
{
	// LOG_DBG("Attribute write, handle: %u, conn: %p", attr->handle,
	// 	(void *)conn);
	if (len != 1U) {
		//LOG_DBG("Write led: Incorrect data length");
		return BT_GATT_ERR(BT_ATT_ERR_INVALID_ATTRIBUTE_LEN);
	}
	if (offset != 0) {
		//LOG_DBG("Write led: Incorrect data offset");
		return BT_GATT_ERR(BT_ATT_ERR_INVALID_OFFSET);
	}
	if (acs_cb.id_cb) {
		//Read the received value 
		uint8_t val = *((uint8_t *)buf);		
		acs_cb.id_cb(val);
	}
	return len;
}

static ssize_t read_id(struct bt_conn *conn, const struct bt_gatt_attr *attr, void *buf,
			   uint16_t len, uint16_t offset)
{
	// get a pointer to beacon_id which is passed in the BT_GATT_CHARACTERISTIC() and stored in attr->user_data
	const char *value = attr->user_data;
	//LOG_DBG("Attribute read, handle: %u, conn: %p", attr->handle, (void *)conn);
	if (acs_cb.id_rd_cb) {
		// Call the application callback function to update the get the current value of the button
		beacon_id = acs_cb.id_rd_cb();
		return bt_gatt_attr_read(conn, attr, buf, len, offset, value, sizeof(*value));
	}

	return 0;
}

/* Create and add the service to the Bluetooth LE stack.*/
BT_GATT_SERVICE_DEFINE(acs_svc,
BT_GATT_PRIMARY_SERVICE(BT_UUID_ACS),
/* Create and add the Beacon ID characteristic */
BT_GATT_CHARACTERISTIC(BT_UUID_ACS_ID,
			       BT_GATT_CHRC_WRITE | BT_GATT_CHRC_READ,
			       BT_GATT_PERM_WRITE | BT_GATT_PERM_READ,
			       read_id, write_id, &beacon_id),

);

/* A function to register application callbacks for the LED and Button characteristics  */
int ble_acs_init(struct  ble_acs_cb *callbacks)
{
	if (callbacks) {
		acs_cb.id_cb = callbacks->id_cb;
		acs_cb.id_rd_cb = callbacks->id_rd_cb;
	}

	return 0;
}
```

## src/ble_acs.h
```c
#ifndef BLE_ACS_H_
#define BLE_ACS_H_

#include <zephyr/types.h>

/* Define the 128-bit UUIDs for the GATT service and its characteristics. */
#define BT_UUID_ACS_VAL \
	BT_UUID_128_ENCODE(0x0000ff23, 0x1212, 0xefde, 0x1523, 0x785feabcd123)
/** @brief Beacon Custom ID Characteristic UUID. */
#define BT_UUID_ACS_ID_VAL \
	BT_UUID_128_ENCODE(0x0000ff24, 0x1212, 0xefde, 0x1523, 0x785feabcd123)

#define BT_UUID_ACS           BT_UUID_DECLARE_128(BT_UUID_ACS_VAL)
#define BT_UUID_ACS_ID    BT_UUID_DECLARE_128(BT_UUID_ACS_ID_VAL)

/** @brief Callback type for when an  Beacon ID change is received. */
typedef void (*id_cb_t)(const uint8_t id_value);

/** @brief Callback type for when the Beacon ID state is pulled. */
typedef uint8_t (*id_rd_cb_t)(void);

/** @brief Callback struct used by the ACS Service. */
struct ble_acs_cb {
	/** ID state change callback. Callled when write is perfomed*/
	id_cb_t id_cb;
	id_rd_cb_t id_rd_cb;

};

/** @brief Initialize the ACS Service.
 *
 * This function registers application callback functions with the Ahena configuration
 * Service
 *
 * @param[in] callbacks Struct containing pointers to callback functions
 *			used by the service. This pointer can be NULL
 *			if no callback functions are defined.
 *
 *
 * @retval 0 If the operation was successful.
 *           Otherwise, a (negative) error code is returned.
 */
int ble_acs_init(struct ble_acs_cb *callbacks);

#endif /* BLE_ACS_H_ */
```

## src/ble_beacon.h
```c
// Creator: Yasen Stoyanov
// Brief: BLE beacon implementation for the Athena project
// Date: 15/9/2023


#ifndef BLE_BEACON_H_
#define BLE_BEACON_H_

#define BEACON_NAME "Athena"
#define BEACON_NAME_LEN (sizeof(BEACON_NAME) - 1)

#define CONNECTABLE_DEVICE_NAME "AthenaCFG"
#define CONNECTABLE_ADV_EN (0)
#define MCUBOOT_DBG  1

/** Non-connectable advertising with @ref BT_LE_ADV_OPT_USE_IDENTITY
 * and 1000ms interval. */
#define NCONN_USE_IDENTITY 0
#if  (NCONN_USE_IDENTITY == 1)
#define BT_LE_ADV_NCONN_SLOW_ADV BT_LE_ADV_PARAM(BT_LE_ADV_OPT_SCANNABLE | BT_LE_ADV_OPT_USE_IDENTITY, \
						 BT_GAP_ADV_SLOW_INT_MIN, \
						 BT_GAP_ADV_SLOW_INT_MAX, \
						 NULL)
#else
//the beacon is not scannable to decrease power consumption
#define BT_LE_ADV_NCONN_SLOW_ADV BT_LE_ADV_PARAM(BT_LE_ADV_OPT_NONE, \
						 BT_GAP_ADV_SLOW_INT_MIN, \
						 BT_GAP_ADV_SLOW_INT_MAX, \
						 NULL)
#endif

/**
 * @brief Initialize the BLE beacon
 * 
 *  It enable the BT stack and create the advertising sets for non-connectable and connectable advertising
 *  It also start the non-connectable advertising
 * 
 * @return Zero on success or (negative) error code otherwise.
 */                  
int ble_beacon_init(void);

/**
 * @brief Update the advertising data of non-connectable advertisement
 *
 * @return Zero on success or (negative) error code otherwise.
 */
int  ble_beacon_update_adv_data(void);


/**
 * @brief Set the advertising data of non-connectable advertisement
 * 
 * It is used to set the pointer to the advertising data that will be updated
 * 
 * @param[in] adv_data Advertising data
 *
 * @return Zero on success or (negative) error code otherwise.
 */
void  ble_beacon_set_adv_frame_data(uint8_t * adv_data);



int ble_beacon_connectable_adv_stop(void);

/**
 * @brief Start BLE connectable advertising
 *
 * @return Zero on success or (negative) error code otherwise.
 */
int ble_beacon_connectable_adv_start(void);


int ble_beacon_set_athena_id(uint8_t value);
uint8_t ble_beacon_get_athena_id(void);

#endif /* BLE_BEACON_H_ */
```

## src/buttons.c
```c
#include <stdio.h>
#include <stdlib.h>

#include <zephyr/kernel.h>
#include <zephyr/init.h>
#include <zephyr/drivers/gpio.h>
#include <zephyr/drivers/adc.h>
#include <zephyr/drivers/sensor.h>
#include <zephyr/logging/log.h>

#include "buttons.h"

#define BUTTON_NODE DT_ALIAS(sw4)
#define DEBOUNCE_WINDOW_MS 15

static const struct gpio_dt_spec button = GPIO_DT_SPEC_GET(BUTTON_NODE, gpios);
static struct gpio_callback button_cb_data;
static button_event_handler_t user_cb;


/* After button debounce time (cooldown) expires, check the button state and pass it to the user provided callback function
 * Note: The user callback function will be executed the workqueue handler contex, therefore: actions on this context shall be kept brief to allow proper functioning of other parts of the system. */
static void debounce_window_expired(struct k_work *work)
{
    ARG_UNUSED(work);

    int val = gpio_pin_get_dt(&button);
    enum button_evt evt = val ? BUTTON_EVT_PRESSED : BUTTON_EVT_RELEASED;
    if (user_cb) {
        user_cb(evt);
    }
}

static K_WORK_DELAYABLE_DEFINE(debounce_work, debounce_window_expired);

static void button_pressed(const struct device *gpio_dev, struct gpio_callback *cb,
		    uint32_t pins)
{
	int err;

 	k_work_reschedule(&debounce_work, K_MSEC(DEBOUNCE_WINDOW_MS));
  
}

int buttons_init(button_event_handler_t handler) {

    int ret;

 	if (!handler) {
        return -EINVAL;
    }

    user_cb = handler;

	if (!gpio_is_ready_dt(&button)) {
		return -ENOENT;
	}

    ret = gpio_pin_configure_dt(&button, GPIO_INPUT | GPIO_PULL_UP);
	 if (ret) {
	 	return ret;
	 }

	ret = gpio_pin_interrupt_configure_dt(&button,
						      GPIO_INT_EDGE_BOTH);
	if (ret) {
	 	return ret;
	 }

	gpio_init_callback(&button_cb_data, button_pressed, BIT(button.pin));
	ret = gpio_add_callback(button.port, &button_cb_data);
	if (ret) {
	 	return ret;
	 }


    return ret;

}

//TODO: make sure we are using PORT event and not GPIOTE IN event
//This is done by adding the following to the devicetree: sense-edge-mask = < 0xffffffff >; to the gpio
/*You use the SENSE bits in the PIN_CNF register to enable GPIO sensing and DETECT signal generation, and then enable the PORT interrupt in the GPIOTE module*/
//NOTE: this will probably require enabling GPIOTE module in the devicetree!!
```

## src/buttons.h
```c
#ifndef BUTTONS_H_
#define BUTTONS_H_

enum button_evt {
    BUTTON_EVT_PRESSED,
    BUTTON_EVT_RELEASED
};

typedef void (*button_event_handler_t)(enum button_evt evt);

int buttons_init(button_event_handler_t handler); 


#endif
```

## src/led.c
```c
// Creator: Yasen Stoyanov
#include <stdio.h>
#include <stdlib.h>

#include <zephyr/kernel.h>
#include <zephyr/init.h>
#include <zephyr/drivers/gpio.h>
#include <zephyr/drivers/adc.h>
#include <zephyr/drivers/sensor.h>
#include <zephyr/logging/log.h>

#include "led.h"

#define LED_NODE DT_ALIAS(led4)
static const struct gpio_dt_spec led = GPIO_DT_SPEC_GET(LED_NODE, gpios);
extern struct k_sem button_hold_sem;

int led_init(void) 
{
    int ret;

	if (!gpio_is_ready_dt(&led)) {
		return -ENOENT;
	}

	ret = gpio_pin_configure_dt(&led, GPIO_OUTPUT_HIGH);
	 if (ret) {
	 	return ret;
	 }


    return ret;

}

//NOTE: these functions can be a MACRO or inlined
int led_set(uint32_t val) 
{

    int ret;
    ret = gpio_pin_set_dt(&led, val);
    return ret;
}


int led_toggle(void) 
{

    int ret;
    ret = gpio_pin_toggle_dt(&led);
    return ret;
}


//TODO: add a thread for togling the LED when button is pressed

void led_toggle_thread(int unused1, int unused2, int unused3)
{
    ARG_UNUSED(unused1);
    ARG_UNUSED(unused2);
    ARG_UNUSED(unused3);
    while (1) {
		
		//Take semaphore
        k_sem_take(&button_hold_sem, K_FOREVER);

        led_set(1);
		k_sleep(K_MSEC(400)); 
        led_set(0);

    }

}
```

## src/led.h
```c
// Creator: Yasen Stoyanov
#ifndef LED_H_
#define LED_H_

int led_init(void);
int led_set(uint32_t val);
int led_toggle(void);
void led_toggle_thread(int unused1, int unused2, int unused3);


#endif /* LED_H_ */
```

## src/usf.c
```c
//User Setting in Flash (USF) module
//This module is used to store the user settings in flash memory
//The user settings are: the beacon ID 
//The beacon ID is a 1-byte value that is used to identify the beacon
//The beacon ID is stored in flash memory and is loaded at startup
//The beacon ID is written to flash memory when the user changes it
//The beacon ID is used in the advertising data

#include <zephyr/kernel.h>
#include <zephyr/device.h>
#include <zephyr/devicetree.h>
#include <zephyr/drivers/sensor.h>

#include <zephyr/drivers/flash.h>
#include <zephyr/storage/flash_map.h>
#include <zephyr/fs/nvs.h>
#include "usf.h"
#include "ble_beacon.h"

static struct nvs_fs fs;

#define NVS_PARTITION		    storage_partition
#define NVS_PARTITION_DEVICE	FIXED_PARTITION_DEVICE(NVS_PARTITION)
#define NVS_PARTITION_OFFSET	FIXED_PARTITION_OFFSET(NVS_PARTITION)

#define BEACONID_ID 1
//#define KEY_ID 2

int usf_init(void) {
    int rc = 0;

    struct flash_pages_info info;
    /* define the nvs file system by settings with:
	 *	sector_size equal to the pagesize,
	 *	3 sectors
	 *	starting at NVS_PARTITION_OFFSET
	 */
	fs.flash_device = NVS_PARTITION_DEVICE;
	if (!device_is_ready(fs.flash_device)) {
		printk("Flash device %s is not ready\n", fs.flash_device->name);
		return 0;
	}
	fs.offset = NVS_PARTITION_OFFSET;
	rc = flash_get_page_info_by_offs(fs.flash_device, fs.offset, &info);
	if (rc) {
		printk("Unable to get page info\n");
		return 0;
	}
	fs.sector_size = info.size;
	fs.sector_count = 3U;

	rc = nvs_mount(&fs);
	if (rc) {
		printk("Flash Init failed\n");
		return 0;
	}
}

//Load the user settings from flash
int usf_load(void)
{
	int ret;
    uint8_t beacon_id;

	ret = nvs_read(&fs, BEACONID_ID, &beacon_id, sizeof(beacon_id));
	if (ret > 0) { /* item was found, show it */
	//	printk("Id: %d, Address: %s\n", BEACONID_ID, beacon_id);
		ble_beacon_set_athena_id(beacon_id);
	} else   {/* item was not found*/
		printk("Id: %d, not found\n", BEACONID_ID);
        //TODO: Set the default value for the beacon ID outside this function
	}

}

int usf_write_beacon_id(uint8_t value) {

    (void)nvs_write(&fs, BEACONID_ID, &value,sizeof(value));

}
```
